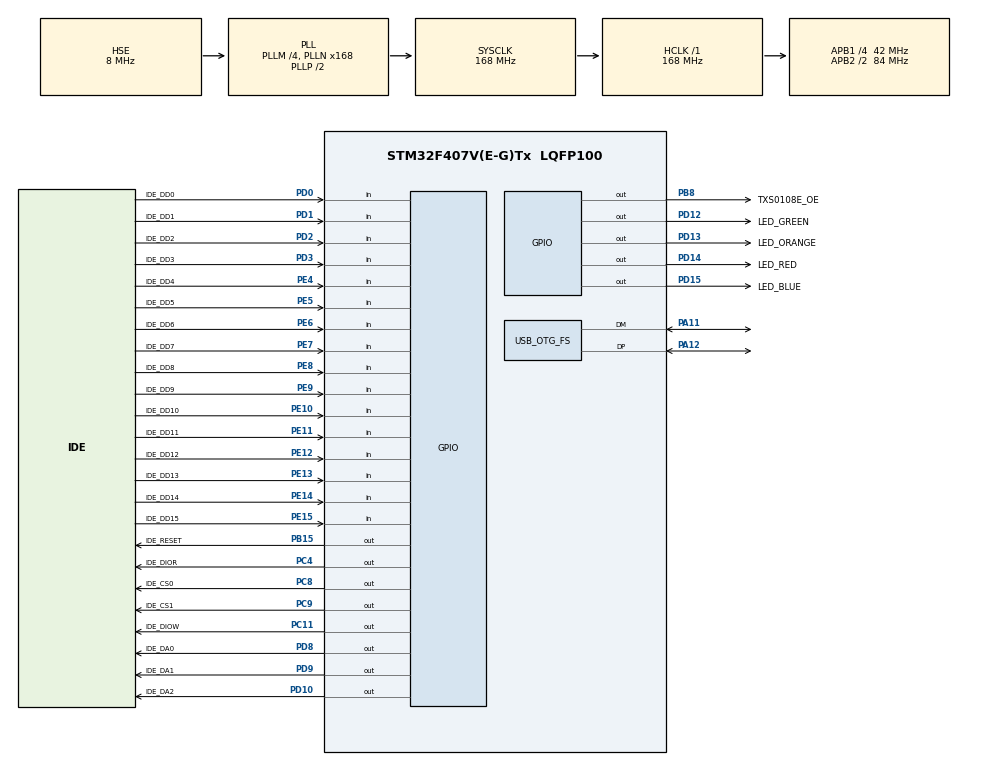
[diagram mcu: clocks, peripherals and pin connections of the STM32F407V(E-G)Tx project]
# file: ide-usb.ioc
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Mcu.Family=STM32F4
PD12.GPIO_Label=LED_GREEN
PH0-OSC_IN.Signal=RCC_OSC_IN
RCC.CortexFreq_Value=168000000
PE11.GPIO_Label=IDE_DD11
PD9.GPIO_Speed=GPIO_SPEED_FREQ_LOW
PD0.GPIO_Label=IDE_DD0
PA11.Mode=Device_Only
PB15.Signal=GPIO_Output
PE6.GPIO_Label=IDE_DD6
RCC.SYSCLKSource=RCC_SYSCLKSOURCE_PLLCLK
ProjectManager.StackSize=0x400
VP_FREERTOS_VS_CMSIS_V2.Mode=CMSIS_V2
PD13.Signal=GPIO_Output
PA12.Signal=USB_OTG_FS_DP
RCC.HCLKFreq_Value=168000000
RCC.APB2TimFreq_Value=168000000
PD0.Signal=GPIO_Input
PD8.Signal=GPIO_Output
PE5.Signal=GPIO_Input
RCC.AHBFreq_Value=168000000
PH0-OSC_IN.Mode=HSE-External-Oscillator
RCC.HSE_VALUE=8000000
PD1.GPIO_Label=IDE_DD1
PC4.GPIO_Speed=GPIO_SPEED_FREQ_LOW
PE13.Signal=GPIO_Input
PC4.GPIO_Label=IDE_DIOR
PE9.Signal=GPIO_Input
PC11.GPIO_Label=IDE_DIOW
PE4.GPIO_Label=IDE_DD4
PC11.GPIO_Speed=GPIO_SPEED_FREQ_LOW
PD10.GPIO_Speed=GPIO_SPEED_FREQ_LOW
PE4.Signal=GPIO_Input
PE10.Signal=GPIO_Input
PH1-OSC_OUT.Mode=HSE-External-Oscillator
PD13.GPIO_Label=LED_ORANGE
Mcu.Package=LQFP100
PD12.Signal=GPIO_Output
NVIC.OTG_FS_IRQn=true\:5\:0\:true\:false\:true\:true\:true\:true
USB_OTG_FS.VirtualMode=Device_Only
PE12.GPIO_Label=IDE_DD12
PC8.GPIO_Speed=GPIO_SPEED_FREQ_LOW
RCC.APB2CLKDivider=RCC_HCLK_DIV2
RCC.APB1TimFreq_Value=84000000
PD3.GPIO_Label=IDE_DD3
PE7.Signal=GPIO_Input
PE10.GPIO_Label=IDE_DD10
PD15.Signal=GPIO_Output
PD12.GPIO_Speed=GPIO_SPEED_FREQ_LOW
FREERTOS.Tasks01=tinyusb,24,1024,tinyusb_task,Default,NULL,Dynamic,NULL,NULL;ide,24,1024,ide_task,Default,NULL,Dynamic,NULL,NULL
PD15.GPIO_Label=LED_BLUE
PD9.GPIO_Label=IDE_DA1
PC9.GPIO_Label=IDE_CS1
PC11.Signal=GPIO_Output
PD3.Signal=GPIO_Input
PC8.Signal=GPIO_Output
PC4.Signal=GPIO_Output
PD1.Signal=GPIO_Input
PE14.GPIO_Label=IDE_DD14
PD9.Signal=GPIO_Output
RCC.APB1CLKDivider=RCC_HCLK_DIV4
PD8.GPIO_Label=IDE_DA0
PD10.Signal=GPIO_Output
PC8.GPIO_Label=IDE_CS0
PB8.GPIO_Label=TXS0108E_OE
PE15.GPIO_Label=IDE_DD15
ProjectManager.TargetToolchain=STM32CubeIDE
PE8.GPIO_Label=IDE_DD8
PD10.GPIO_Label=IDE_DA2
PE11.Signal=GPIO_Input
RCC.LSE_VALUE=32768
PE9.GPIO_Label=IDE_DD9
board=STM32F407G-DISC1
RCC.VCOOutputFreq_Value=336000000
RCC.APB2Freq_Value=84000000
PE14.Signal=GPIO_Input
PE15.Signal=GPIO_Input
PB15.GPIO_Label=IDE_RESET
PE8.Signal=GPIO_Input
PB15.GPIO_Speed=GPIO_SPEED_FREQ_LOW
PH1-OSC_OUT.Signal=RCC_OSC_OUT
PD14.GPIO_Label=LED_RED
PE6.Signal=GPIO_Input
Mcu.Name=STM32F407V(E-G)Tx
PE7.GPIO_Label=IDE_DD7
PE12.Signal=GPIO_Input
PD14.Signal=GPIO_Output
RCC.48MHZClocksFreq_Value=48000000
RCC.SYSCLKFreq_VALUE=168000000
PE13.GPIO_Label=IDE_DD13
PA12.Mode=Device_Only
PE5.GPIO_Label=IDE_DD5
PA11.Signal=USB_OTG_FS_DM
ProjectManager.HeapSize=0x200
RCC.HSI_VALUE=16000000
PD8.GPIO_Speed=GPIO_SPEED_FREQ_LOW
RCC.PLLQ=7
PC9.GPIO_Speed=GPIO_SPEED_FREQ_LOW
NVIC.PriorityGroup=NVIC_PRIORITYGROUP_4
RCC.PLLM=4
RCC.PLLN=168
PB8.Signal=GPIO_Output
PC9.Signal=GPIO_Output
PD2.Signal=GPIO_Input
RCC.APB1Freq_Value=42000000
PD2.GPIO_Label=IDE_DD2

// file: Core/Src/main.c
/* USER CODE BEGIN Header */
/**
  ******************************************************************************
  * @file           : main.c
  * @brief          : Main program body
  ******************************************************************************
  * @attention
  *
  * <h2><center>&copy; Copyright (c) 2021 STMicroelectronics.
  * All rights reserved.</center></h2>
  *
  * This software component is licensed by ST under BSD 3-Clause license,
  * the "License"; You may not use this file except in compliance with the
  * License. You may obtain a copy of the License at:
  *                        opensource.org/licenses/BSD-3-Clause
  *
  ******************************************************************************
  */
/* USER CODE END Header */
#include "main.h"
#include "cmsis_os.h"

/* USER CODE BEGIN Includes */
#include "tusb.h"
#include "ide_async.h"
/* USER CODE END Includes */

PCD_HandleTypeDef hpcd_USB_OTG_FS;

/* Definitions for tinyusb */
osThreadId_t tinyusbHandle;
const osThreadAttr_t tinyusb_attributes = {
  .name = "tinyusb",
  .stack_size = 1024 * 4,
  .priority = (osPriority_t) osPriorityNormal,
};
/* Definitions for ide */
osThreadId_t ideHandle;
const osThreadAttr_t ide_attributes = {
  .name = "ide",
  .stack_size = 1024 * 4,
  .priority = (osPriority_t) osPriorityNormal,
};

void SystemClock_Config(void);
static void MX_GPIO_Init(void);
static void MX_USB_OTG_FS_PCD_Init(void);
void tinyusb_task(void *argument);
void ide_task(void *argument);

/* USER CODE BEGIN 0 */
#ifdef DEBUG
int _write (int fhdl, const void *buf, size_t count) {
  uint8_t const* buf8 = (uint8_t const*) buf;
  for(size_t i=0; i<count; i++) {
    ITM_SendChar(buf8[i]);
  }
  return count;
}
#endif
/* USER CODE END 0 */

int main(void)
{

  /* MCU Configuration--------------------------------------------------------*/

  /* Reset of all peripherals, Initializes the Flash interface and the Systick. */
  HAL_Init();

  /* Configure the system clock */
  SystemClock_Config();

  /* USER CODE BEGIN SysInit */
#ifdef DEBUG
  setvbuf(stdout, NULL, _IONBF, 0); // disable stdout buffering
#endif
  /* USER CODE END SysInit */

  /* Initialize all configured peripherals */
  MX_GPIO_Init();
  MX_USB_OTG_FS_PCD_Init();

  /* Init scheduler */
  osKernelInitialize();

  /* Create the thread(s) */
  /* creation of tinyusb */
  tinyusbHandle = osThreadNew(tinyusb_task, NULL, &tinyusb_attributes);

  /* creation of ide */
  ideHandle = osThreadNew(ide_task, NULL, &ide_attributes);

  /* Start scheduler */
  osKernelStart();

  /* We should never get here as control is now taken by the scheduler */
  /* Infinite loop */
  while (1)
  {

  }
}

void SystemClock_Config(void)
{
  RCC_OscInitTypeDef RCC_OscInitStruct = {0};
  RCC_ClkInitTypeDef RCC_ClkInitStruct = {0};

  /** Configure the main internal regulator output voltage
  */
  __HAL_RCC_PWR_CLK_ENABLE();
  __HAL_PWR_VOLTAGESCALING_CONFIG(PWR_REGULATOR_VOLTAGE_SCALE1);
  /** Initializes the RCC Oscillators according to the specified parameters
  * in the RCC_OscInitTypeDef structure.
  */
  RCC_OscInitStruct.OscillatorType = RCC_OSCILLATORTYPE_HSE;
  RCC_OscInitStruct.HSEState = RCC_HSE_ON;
  RCC_OscInitStruct.PLL.PLLState = RCC_PLL_ON;
  RCC_OscInitStruct.PLL.PLLSource = RCC_PLLSOURCE_HSE;
  RCC_OscInitStruct.PLL.PLLM = 4;
  RCC_OscInitStruct.PLL.PLLN = 168;
  RCC_OscInitStruct.PLL.PLLP = RCC_PLLP_DIV2;
  RCC_OscInitStruct.PLL.PLLQ = 7;
  if (HAL_RCC_OscConfig(&RCC_OscInitStruct) != HAL_OK)
  {
    Error_Handler();
  }
  /** Initializes the CPU, AHB and APB buses clocks
  */
  RCC_ClkInitStruct.ClockType = RCC_CLOCKTYPE_HCLK|RCC_CLOCKTYPE_SYSCLK
                              |RCC_CLOCKTYPE_PCLK1|RCC_CLOCKTYPE_PCLK2;
  RCC_ClkInitStruct.SYSCLKSource = RCC_SYSCLKSOURCE_PLLCLK;
  RCC_ClkInitStruct.AHBCLKDivider = RCC_SYSCLK_DIV1;
  RCC_ClkInitStruct.APB1CLKDivider = RCC_HCLK_DIV4;
  RCC_ClkInitStruct.APB2CLKDivider = RCC_HCLK_DIV2;

  if (HAL_RCC_ClockConfig(&RCC_ClkInitStruct, FLASH_LATENCY_5) != HAL_OK)
  {
    Error_Handler();
  }
}

static void MX_USB_OTG_FS_PCD_Init(void)
{

  hpcd_USB_OTG_FS.Instance = USB_OTG_FS;
  hpcd_USB_OTG_FS.Init.dev_endpoints = 4;
  hpcd_USB_OTG_FS.Init.speed = PCD_SPEED_FULL;
  hpcd_USB_OTG_FS.Init.dma_enable = DISABLE;
  hpcd_USB_OTG_FS.Init.phy_itface = PCD_PHY_EMBEDDED;
  hpcd_USB_OTG_FS.Init.Sof_enable = DISABLE;
  hpcd_USB_OTG_FS.Init.low_power_enable = DISABLE;
  hpcd_USB_OTG_FS.Init.lpm_enable = DISABLE;
  hpcd_USB_OTG_FS.Init.vbus_sensing_enable = DISABLE;
  hpcd_USB_OTG_FS.Init.use_dedicated_ep1 = DISABLE;
  if (HAL_PCD_Init(&hpcd_USB_OTG_FS) != HAL_OK)
  {
    Error_Handler();
  }

}

static void MX_GPIO_Init(void)
{
  GPIO_InitTypeDef GPIO_InitStruct = {0};

  /* GPIO Ports Clock Enable */
  __HAL_RCC_GPIOE_CLK_ENABLE();
  __HAL_RCC_GPIOH_CLK_ENABLE();
  __HAL_RCC_GPIOC_CLK_ENABLE();
  __HAL_RCC_GPIOB_CLK_ENABLE();
  __HAL_RCC_GPIOD_CLK_ENABLE();
  __HAL_RCC_GPIOA_CLK_ENABLE();

  /*Configure GPIO pin Output Level */
  HAL_GPIO_WritePin(GPIOC, IDE_DIOR_Pin|IDE_CS0_Pin|IDE_CS1_Pin|IDE_DIOW_Pin, GPIO_PIN_RESET);

  /*Configure GPIO pin Output Level */
  HAL_GPIO_WritePin(GPIOB, IDE_RESET_Pin|TXS0108E_OE_Pin, GPIO_PIN_RESET);

  /*Configure GPIO pin Output Level */
  HAL_GPIO_WritePin(GPIOD, IDE_DA0_Pin|IDE_DA1_Pin|IDE_DA2_Pin|LED_GREEN_Pin
                          |LED_ORANGE_Pin|LED_RED_Pin|LED_BLUE_Pin, GPIO_PIN_RESET);

  /*Configure GPIO pins : IDE_DD4_Pin IDE_DD5_Pin IDE_DD6_Pin IDE_DD7_Pin
                           IDE_DD8_Pin IDE_DD9_Pin IDE_DD10_Pin IDE_DD11_Pin
                           IDE_DD12_Pin IDE_DD13_Pin IDE_DD14_Pin IDE_DD15_Pin */
  GPIO_InitStruct.Pin = IDE_DD4_Pin|IDE_DD5_Pin|IDE_DD6_Pin|IDE_DD7_Pin
                          |IDE_DD8_Pin|IDE_DD9_Pin|IDE_DD10_Pin|IDE_DD11_Pin
                          |IDE_DD12_Pin|IDE_DD13_Pin|IDE_DD14_Pin|IDE_DD15_Pin;
  GPIO_InitStruct.Mode = GPIO_MODE_INPUT;
  GPIO_InitStruct.Pull = GPIO_NOPULL;
  HAL_GPIO_Init(GPIOE, &GPIO_InitStruct);

  /*Configure GPIO pins : IDE_DIOR_Pin IDE_CS0_Pin IDE_CS1_Pin IDE_DIOW_Pin */
  GPIO_InitStruct.Pin = IDE_DIOR_Pin|IDE_CS0_Pin|IDE_CS1_Pin|IDE_DIOW_Pin;
  GPIO_InitStruct.Mode = GPIO_MODE_OUTPUT_PP;
  GPIO_InitStruct.Pull = GPIO_NOPULL;
  GPIO_InitStruct.Speed = GPIO_SPEED_FREQ_LOW;
  HAL_GPIO_Init(GPIOC, &GPIO_InitStruct);

  /*Configure GPIO pins : IDE_RESET_Pin TXS0108E_OE_Pin */
  GPIO_InitStruct.Pin = IDE_RESET_Pin|TXS0108E_OE_Pin;
  GPIO_InitStruct.Mode = GPIO_MODE_OUTPUT_PP;
  GPIO_InitStruct.Pull = GPIO_NOPULL;
  GPIO_InitStruct.Speed = GPIO_SPEED_FREQ_LOW;
  HAL_GPIO_Init(GPIOB, &GPIO_InitStruct);

  /*Configure GPIO pins : IDE_DA0_Pin IDE_DA1_Pin IDE_DA2_Pin LED_GREEN_Pin
                           LED_ORANGE_Pin LED_RED_Pin LED_BLUE_Pin */
  GPIO_InitStruct.Pin = IDE_DA0_Pin|IDE_DA1_Pin|IDE_DA2_Pin|LED_GREEN_Pin
                          |LED_ORANGE_Pin|LED_RED_Pin|LED_BLUE_Pin;
  GPIO_InitStruct.Mode = GPIO_MODE_OUTPUT_PP;
  GPIO_InitStruct.Pull = GPIO_NOPULL;
  GPIO_InitStruct.Speed = GPIO_SPEED_FREQ_LOW;
  HAL_GPIO_Init(GPIOD, &GPIO_InitStruct);

  /*Configure GPIO pins : IDE_DD0_Pin IDE_DD1_Pin IDE_DD2_Pin IDE_DD3_Pin */
  GPIO_InitStruct.Pin = IDE_DD0_Pin|IDE_DD1_Pin|IDE_DD2_Pin|IDE_DD3_Pin;
  GPIO_InitStruct.Mode = GPIO_MODE_INPUT;
  GPIO_InitStruct.Pull = GPIO_NOPULL;
  HAL_GPIO_Init(GPIOD, &GPIO_InitStruct);

}

void tinyusb_task(void *argument)
{
  /* USER CODE BEGIN 5 */
  tusb_init();
  /* Infinite loop */
  while(1) {
    tud_task();
  }
  /* USER CODE END 5 */
}

void ide_task(void *argument)
{
  /* USER CODE BEGIN ide_task */
  ide_async_init();
  /* Infinite loop */
  while (1) {
    ide_async_main_loop_step();
  }
  /* USER CODE END ide_task */
}

void Error_Handler(void)
{
  __disable_irq();
  while (1)
  {
  }
}

/************************ (C) COPYRIGHT STMicroelectronics *****END OF FILE****/
